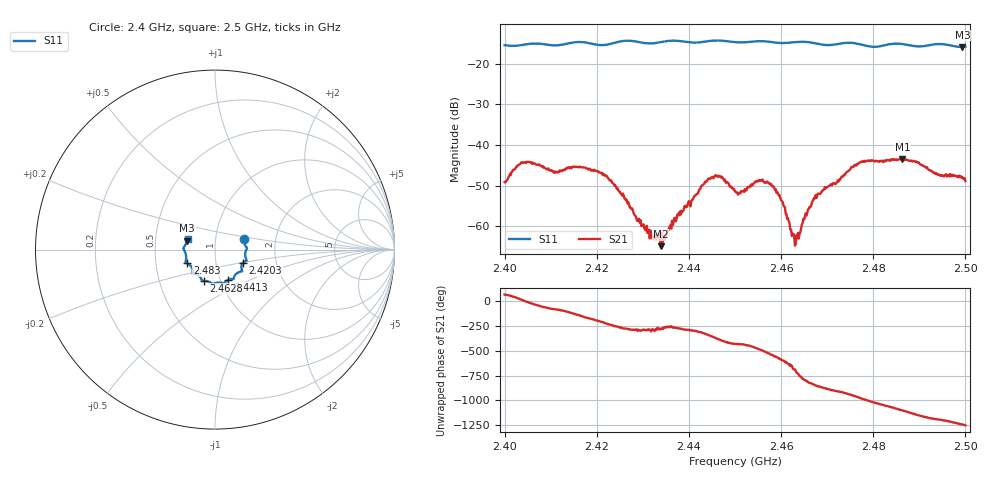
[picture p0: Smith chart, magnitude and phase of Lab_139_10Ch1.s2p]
# Hz S RI R 50
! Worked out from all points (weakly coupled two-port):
!   601 points, 2.4 GHz to 2.5 GHz, reference 50 ohm
!   highest |S21| = -43.46 dB at 2.4863 GHz (marker M1); lowest = -65.0 dB at 2.4338 GHz (marker M2)
!   lowest |S11| = -15.8 dB at 2.4993 GHz (marker M3), VSWR 1.39, Z = 36.5 + j3.72 ohm
!   |S11| at or under -10 dB: start of sweep to end of sweep
!   S12 and S22 are empty: the file has one direction only
!   S11 on the Smith chart (normalised r, x): 2.4 GHz: 1.37, +0.16; 2.4203 GHz: 1.35, -0.21; 2.4413 GHz: 1.09, -0.38; 2.4628 GHz: 0.83, -0.30; 2.483 GHz: 0.72, -0.11; 2.5 GHz: 0.73, +0.09
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2.4e9  0.1606 0.0568  0.00142 0.00319  0 0  0 0
2.404e9  0.1714 0.0182  0.00592 0.000836  0 0  0 0
2.411167e9  0.1679 -0.0227  0.000449 -0.0046  0 0  0 0
2.416667e9  0.1762 -0.0615  -0.00455 -0.00271  0 0  0 0
2.420333e9  0.1551 -0.0738  -0.00432 0.00164  0 0  0 0
2.433333e9  0.1081 -0.1484  7.38e-05 0.000794  0 0  0 0
2.433833e9  0.1067 -0.1521  0.000141 0.000547  0 0  0 0
2.441333e9  0.0743 -0.168  0.00129 0.00198  0 0  0 0
2.446167e9  0.0495 -0.1887  0.00387 -0.00127  0 0  0 0
2.45e9  0.0293 -0.1836  0.000889 -0.00252  0 0  0 0
2.4555e9  -0.00993 -0.191  -0.00237 -0.00281  0 0  0 0
2.457833e9  -0.0216 -0.1854  -0.00329 -5.47e-05  0 0  0 0
2.460333e9  -0.0418 -0.1764  -0.00107 0.00167  0 0  0 0
2.462833e9  -0.063 -0.1748  0.000686 0.000393  0 0  0 0
2.4635e9  -0.0666 -0.175  0.00071 -6.43e-05  0 0  0 0
2.466667e9  -0.0743 -0.1676  -0.000665 -0.00182  0 0  0 0
2.477e9  -0.1243 -0.1244  -0.00166 0.00585  0 0  0 0
2.483e9  -0.1547 -0.0768  0.00594 0.00255  0 0  0 0
2.483333e9  -0.1571 -0.0757  0.00618 0.00202  0 0  0 0
2.486333e9  -0.1634 -0.0659  0.00627 -0.0024  0 0  0 0
2.499333e9  -0.1543 0.0497  -0.00385 -0.00114  0 0  0 0
2.5e9  -0.1526 0.0588  -0.00357 -0.000449  0 0  0 0
